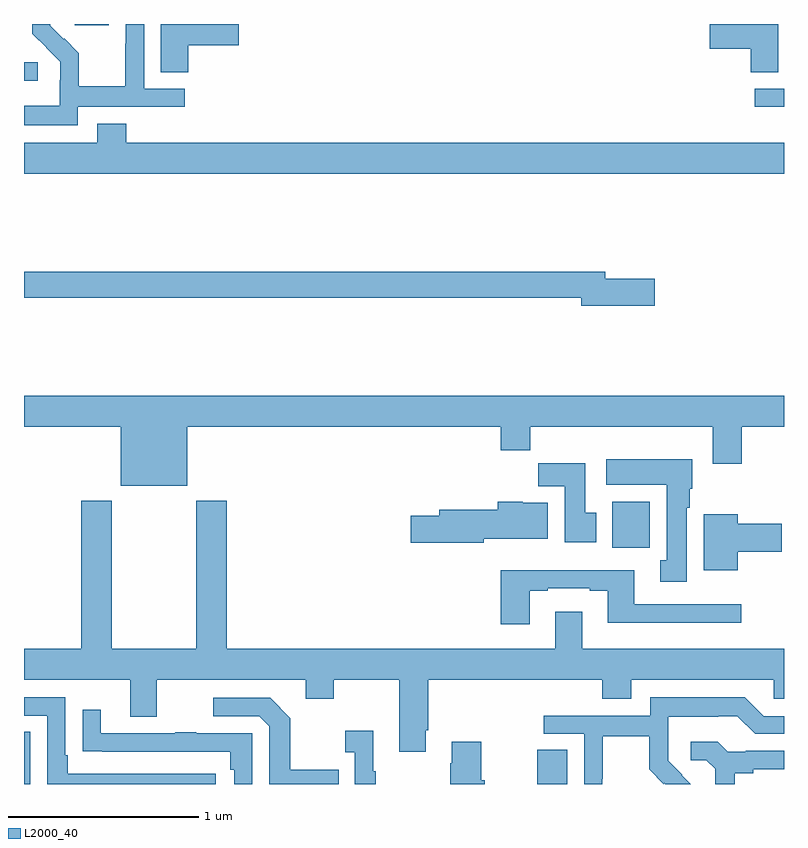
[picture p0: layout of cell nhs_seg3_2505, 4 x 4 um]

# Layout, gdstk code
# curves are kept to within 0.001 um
import gdstk
lib = gdstk.Library(unit=1e-6, precision=1e-09)
def R(c, l, rs):  # rectangles x0, y0, x1, y1
    for r in rs: c.add(gdstk.rectangle(r[:2], r[2:], *l))
def P(c, l, *ps):  # polygons
    for p in ps: c.add(gdstk.Polygon(p, *l))
L2000_40 = (2000, 40)

nhs_seg3_2505 = lib.new_cell('nhs_seg3_2505')
R(nhs_seg3_2505, L2000_40, [(241,668.4,241.032,668.675), (243.701,668.4,243.859,668.579), (244.097,669.644,244.294,669.886), (244.845,671.964,245,672.06), (241,672.101,241.072,672.198), (241.268,672.393,241.447,672.4)])
P(nhs_seg3_2505, L2000_40, [(241.284,671.964),(241.846,671.964),(241.846,672.06),(241.632,672.06),(241.632,672.4),(241.536,672.4),(241.536,672.296),(241.534,672.296),(241.534,672.073),(241.289,672.073),(241.289,672.247),(241.212,672.324),(241.209,672.321),(241.139,672.392),(241.139,672.4),(241.044,672.4),(241.044,672.35),(241.19,672.202),(241.19,672.105),(241.188,672.105),(241.188,671.971),(241,671.971),(241,671.867),(241.284,671.867)],
  [(244.969,672.4),(244.608,672.4),(244.608,672.269),(244.826,672.269),(244.826,672.145),(244.969,672.145)],
  [(241.865,672.287),(242.129,672.287),(242.129,672.4),(241.721,672.4),(241.721,672.145),(241.865,672.145)],
  [(245,671.776),(241.538,671.776),(241.538,671.875),(241.385,671.875),(241.385,671.776),(241,671.776),(241,671.612),(245,671.612)],
  [(244.321,671.06),(244.06,671.06),(244.06,671.096),(241,671.096),(241,670.96),(243.932,670.96),(243.932,670.918),(244.321,670.918)],
  [(241.858,670.28),(243.509,670.28),(243.509,670.156),(243.665,670.156),(243.665,670.28),(244.625,670.28),(244.625,670.086),(244.778,670.086),(244.778,670.28),(245,670.28),(245,670.444),(241,670.444),(241,670.28),(241.508,670.28),(241.508,669.971),(241.858,669.971)],
  [(244.489,669.854),(244.504,669.854),(244.504,669.954),(244.516,669.954),(244.516,670.108),(244.065,670.108),(244.065,669.974),(244.382,669.974),(244.382,669.578),(244.349,669.578),(244.349,669.465),(244.489,669.465)],
  [(244.012,669.828),(243.955,669.828),(243.955,670.087),(243.706,670.087),(243.706,669.968),(243.845,669.968),(243.845,669.672),(244.012,669.672)],
  [(243.115,668.683),(243.128,668.683),(243.128,668.948),(244.043,668.948),(244.043,668.849),(244.195,668.849),(244.195,668.948),(244.947,668.948),(244.947,668.85),(245,668.85),(245,669.112),(243.937,669.112),(243.937,669.307),(243.797,669.307),(243.797,669.112),(242.066,669.112),(242.066,669.892),(241.906,669.892),(241.906,669.112),(241.461,669.112),(241.461,669.892),(241.301,669.892),(241.301,669.112),(241,669.112),(241,668.948),(241.559,668.948),(241.559,668.754),(241.699,668.754),(241.699,668.948),(242.483,668.948),(242.483,668.849),(242.631,668.849),(242.631,668.948),(242.975,668.948),(242.975,668.571),(243.115,668.571)],
  [(243.42,669.692),(243.757,669.692),(243.757,669.88),(243.624,669.88),(243.624,669.886),(243.494,669.886),(243.494,669.843),(243.185,669.843),(243.185,669.813),(243.036,669.813),(243.036,669.671),(243.42,669.671)],
  [(244.756,669.623),(244.987,669.623),(244.987,669.77),(244.756,669.77),(244.756,669.82),(244.577,669.82),(244.577,669.524),(244.756,669.524)],
  [(243.661,669.417),(243.757,669.417),(243.757,669.429),(243.977,669.429),(243.977,669.417),(244.073,669.417),(244.073,669.248),(244.774,669.248),(244.774,669.345),(244.213,669.345),(244.213,669.526),(243.509,669.526),(243.509,669.24),(243.661,669.24)],
  [(244.044,668.428),(244.047,668.428),(244.047,668.652),(244.291,668.652),(244.291,668.477),(244.368,668.4),(244.371,668.403),(244.374,668.4),(244.51,668.4),(244.39,668.522),(244.39,668.619),(244.392,668.619),(244.392,668.753),(244.655,668.753),(244.655,668.757),(244.755,668.757),(244.848,668.664),(245,668.664),(245,668.757),(244.893,668.757),(244.793,668.857),(244.296,668.857),(244.296,668.76),(243.735,668.76),(243.735,668.664),(243.948,668.664),(243.948,668.4),(244.044,668.4)],
  [(242.008,668.454),(241.231,668.454),(241.231,668.551),(241.218,668.551),(241.218,668.856),(241,668.856),(241,668.76),(241.122,668.76),(241.122,668.4),(242.008,668.4)],
  [(242.657,668.475),(242.401,668.475),(242.401,668.747),(242.295,668.853),(241.995,668.853),(241.995,668.757),(242.238,668.757),(242.292,668.703),(242.292,668.4),(242.657,668.4)],
  [(242.202,668.667),(241.907,668.667),(241.907,668.672),(241.795,668.672),(241.795,668.667),(241.405,668.667),(241.405,668.791),(241.309,668.791),(241.309,668.572),(241.411,668.572),(241.411,668.571),(242.086,668.571),(242.086,668.474),(242.106,668.474),(242.106,668.4),(242.202,668.4)],
  [(242.851,668.467),(242.839,668.467),(242.839,668.68),(242.691,668.68),(242.691,668.567),(242.742,668.567),(242.742,668.4),(242.851,668.4)],
  [(244.741,668.456),(244.837,668.456),(244.837,668.478),(245,668.478),(245,668.574),(244.798,668.574),(244.798,668.571),(244.704,668.571),(244.652,668.623),(244.509,668.623),(244.509,668.526),(244.59,668.526),(244.637,668.479),(244.637,668.4),(244.741,668.4)],
  [(243.424,668.421),(243.406,668.421),(243.406,668.623),(243.251,668.623),(243.251,668.51),(243.244,668.51),(243.244,668.4),(243.424,668.4)])

lib.write_gds('nhs_seg3_2505.gds')
